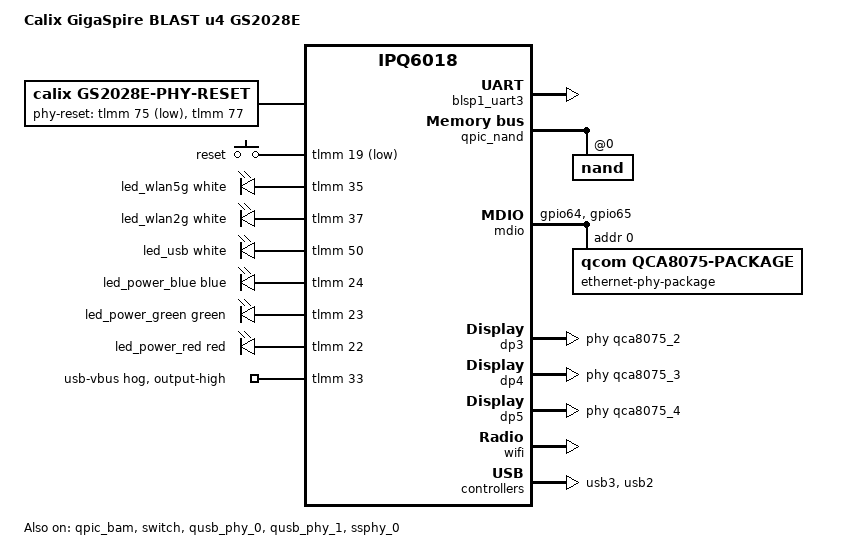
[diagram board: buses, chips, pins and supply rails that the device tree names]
// SPDX-License-Identifier: GPL-2.0-or-later OR MIT

/dts-v1/;

#include "ipq6018.dtsi"
#include "ipq6018-cp-cpu.dtsi"
#include "ipq6018-ess.dtsi"
#include <dt-bindings/gpio/gpio.h>
#include <dt-bindings/input/input.h>
#include <dt-bindings/leds/common.h>

/ {
	model = "Calix GigaSpire BLAST u4 GS2028E";
	compatible = "calix,gs2028e", "calix,ipq6018-36", "qcom,ipq6018";

	aliases {
		serial0 = &blsp1_uart3;
		led-boot = &led_power_green;
		led-failsafe = &led_power_red;
		led-running = &led_power_green;
		led-upgrade = &led_power_blue;
	};

	chosen {
		stdout-path = "serial0:115200n8";
		bootargs-append = " root=/dev/ubiblock0_1";
	};

	phy-reset {
		compatible = "calix,gs2028e-phy-reset";
		phy-reset-gpios = <&tlmm 75 GPIO_ACTIVE_LOW>, <&tlmm 77 GPIO_ACTIVE_HIGH>;
	};

	keys {
		compatible = "gpio-keys";

		reset {
			label = "reset";
			gpios = <&tlmm 19 GPIO_ACTIVE_LOW>;
			linux,code = <KEY_RESTART>;
		};
	};

	leds {
		compatible = "gpio-leds";

		led_wlan5g {
			color = <LED_COLOR_ID_WHITE>;
			function = LED_FUNCTION_WLAN;
			function-enumerator = <0>;
			gpios = <&tlmm 35 GPIO_ACTIVE_HIGH>;
			linux,default-trigger = "phy0radio";
		};

		led_wlan2g {
			color = <LED_COLOR_ID_WHITE>;
			function = LED_FUNCTION_WLAN;
			function-enumerator = <1>;
			gpios = <&tlmm 37 GPIO_ACTIVE_HIGH>;
			linux,default-trigger = "phy1radio";
		};

		led_usb {
			color = <LED_COLOR_ID_WHITE>;
			function = LED_FUNCTION_USB;
			gpios = <&tlmm 50 GPIO_ACTIVE_HIGH>;
			linux,default-trigger = "usbport";
		};

		led_power_blue: led_power_blue {
			color = <LED_COLOR_ID_BLUE>;
			function = LED_FUNCTION_POWER;
			function-enumerator = <0>;
			gpios = <&tlmm 24 GPIO_ACTIVE_HIGH>;
		};

		led_power_green: led_power_green {
			color = <LED_COLOR_ID_GREEN>;
			function = LED_FUNCTION_POWER;
			function-enumerator = <1>;
			gpios = <&tlmm 23 GPIO_ACTIVE_HIGH>;
		};

		led_power_red: led_power_red {
			color = <LED_COLOR_ID_RED>;
			function = LED_FUNCTION_POWER;
			function-enumerator = <2>;
			gpios = <&tlmm 22 GPIO_ACTIVE_HIGH>;
		};
	};
};

&blsp1_uart3 {
	pinctrl-0 = <&serial_3_pins>;
	pinctrl-names = "default";
	status = "okay";
};

&tlmm {
	mdio_pins: mdio-pins {
		mdc {
			pins = "gpio64";
			function = "mdc";
			drive-strength = <8>;
			bias-pull-up;
		};

		mdio {
			pins = "gpio65";
			function = "mdio";
			drive-strength = <8>;
			bias-pull-up;
		};
	};

	usb_vbus_pins: usb-vbus-state {
		pins = "gpio33";
		function = "gpio";
		drive-strength = <8>;
		bias-pull-up;
		output-high;
	};

	usb-vbus-hog {
		gpio-hog;
		gpios = <33 GPIO_ACTIVE_HIGH>;
		output-high;
		line-name = "usb-vbus";
	};
};

&qpic_bam {
	status = "okay";
};

&qpic_nand {
	status = "okay";

	nand@0 {
		reg = <0>;

		nand-ecc-strength = <4>;
		nand-ecc-step-size = <512>;
		nand-bus-width = <8>;

		partitions {
			compatible = "qcom,smem-part";
		};
	};
};

&mdio {
	status = "okay";
	pinctrl-0 = <&mdio_pins>;
	pinctrl-names = "default";

	ethernet-phy-package@0 {
		reset-assert-us = <10000>;
		reset-deassert-us = <50000>;
		#address-cells = <1>;
		#size-cells = <0>;
		compatible = "qcom,qca8075-package";
		reg = <0>;

		qcom,package-mode = "psgmii";

		qca8075_0: ethernet-phy@0 {
			compatible = "ethernet-phy-ieee802.3-c22";
			reg = <0>;
		};

		qca8075_1: ethernet-phy@1 {
			compatible = "ethernet-phy-ieee802.3-c22";
			reg = <1>;
		};

		qca8075_2: ethernet-phy@2 {
			compatible = "ethernet-phy-ieee802.3-c22";
			reg = <2>;
		};

		qca8075_3: ethernet-phy@3 {
			compatible = "ethernet-phy-ieee802.3-c22";
			reg = <3>;
		};

		qca8075_4: ethernet-phy@4 {
			compatible = "ethernet-phy-ieee802.3-c22";
			reg = <4>;
		};
	};
};

&switch {
	status = "okay";

	switch_lan_bmp = <(ESS_PORT3 | ESS_PORT4)>;
	switch_wan_bmp = <ESS_PORT5>;
	switch_mac_mode = <MAC_MODE_PSGMII>;

	qcom,port_phyinfo {
		port@3 {
			port_id = <3>;
			phy_address = <2>;
		};

		port@4 {
			port_id = <4>;
			phy_address = <3>;
		};

		port@5 {
			port_id = <5>;
			phy_address = <4>;
		};
	};
};

&edma {
	status = "okay";
};

&dp3 {
	status = "okay";
	phy-handle = <&qca8075_2>;
	label = "lan2";
};

&dp4 {
	status = "okay";
	phy-handle = <&qca8075_3>;
	label = "lan1";
};

&dp5 {
	status = "okay";
	phy-handle = <&qca8075_4>;
	label = "wan";
};

&wifi {
	status = "okay";
	qcom,ath11k-calibration-variant = "Calix-GS2028E";
};

&usb3 {
	status = "okay";
};

&dwc_0 {
	dr_mode = "host";
};

&usb2 {
	status = "okay";
};

&dwc_1 {
	dr_mode = "host";
};

&qusb_phy_0 {
	status = "okay";
};

&qusb_phy_1 {
	status = "okay";
};

&ssphy_0 {
	status = "okay";
};
